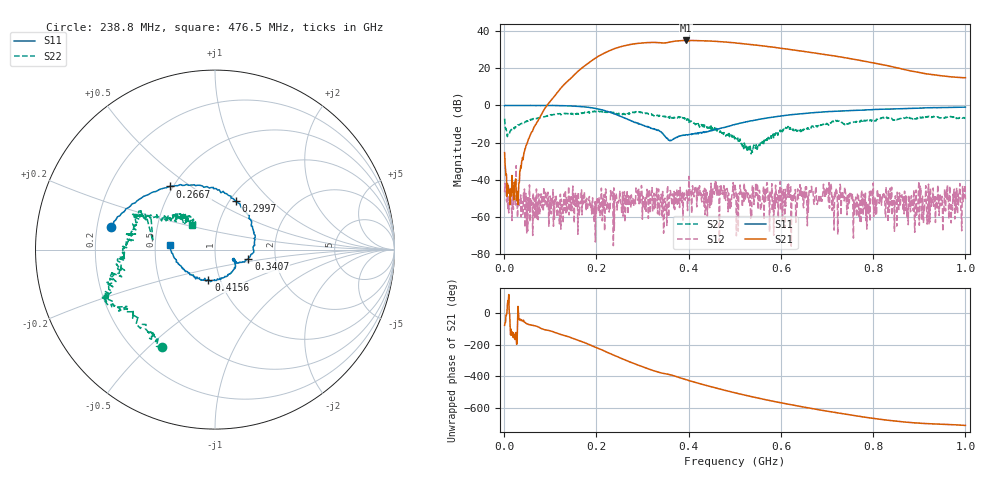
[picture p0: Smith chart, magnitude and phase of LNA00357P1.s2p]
! Created with skrf 1.9.0 (http://scikit-rf.org).
# Hz S RI R 50.0
!freq ReS11 ImS11 ReS21 ImS21 ReS12 ImS12 ReS22 ImS22
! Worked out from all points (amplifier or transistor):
!   1001 points, 1 MHz to 1 GHz, reference 50 ohm
!   highest |S21| = 35.0 dB at 394.6 MHz (marker M1)
!   |S21| within 3 dB of that: 258.3 MHz to 562.9 MHz (304.6 MHz wide, 74.2 % of centre)
!   unconditionally stable (mu >= 1): 3.628 MHz to 67.84 MHz; 238 MHz to 297.3 MHz; 298.4 MHz to end of sweep (the widest 3 of 31)
!   at 166.8 MHz: K = 1.13, MAG = 31.4 dB, |S12| = -47.3 dB
!   at 500.5 MHz: K = 1.39, MAG = 34.3 dB, |S12| = -42.2 dB
!   at 1 GHz: K = 4.86, MAG = 22.9 dB, |S12| = -50.6 dB
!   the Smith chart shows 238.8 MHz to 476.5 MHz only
!   S11 on the Smith chart (normalised r, x): 238.8 MHz: 0.26, +0.10; 266.7 MHz: 0.48, +0.42; 299.7 MHz: 1.07, +0.63; 340.7 MHz: 1.45, -0.15; 415.6 MHz: 0.88, -0.30; 476.5 MHz: 0.60, +0.03
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1000000  0.9781 0.00354  0.0136 -0.0516  0.00359 -0.00283  0.3548 0.2608
1.07893e8  0.5143 -0.8538  -0.7874 -1.509  0.00157 -0.00183  0.4261 -0.3845
1.67833e8  -0.268 -0.8879  -10.07 -0.3127  -0.00177 -0.00499  0.0274 -0.6275
2.07793e8  -0.6815 -0.3807  -15.44 16.16  3.47e-05 -0.00108  -0.2069 -0.6508
2.38762e8  -0.5808 0.1269  -1.914 33.78  2.1e-05 -0.000426  -0.2969 -0.5433
2.66734e8  -0.2492 0.3522  22.13 36.14  -0.00502 0.000827  -0.4538 -0.3459
2.99701e8  0.1157 0.2704  45.18 17.73  -0.000826 0.000225  -0.5735 -0.2331
3.18682e8  0.2085 0.1294  49.99 1.836  -0.00336 -0.000663  -0.5621 -0.1396
3.34666e8  0.2166 -0.0132  48.01 -11.49  -0.0034 0.00443  -0.5072 -0.0383
3.4066e8  0.1865 -0.0508  46.35 -15.09  -0.00302 0.00271  -0.5105 -0.0185
3.68632e8  0.113 -0.0625  43.23 -32.01  -0.000599 0.00479  -0.4587 0.1427
3.94606e8  0.0663 -0.1483  27.4 -49.34  0.00156 0.00305  -0.3971 0.1772
4.15585e8  -0.0367 -0.1669  10.92 -54.96  0.00605 0.00111  -0.2732 0.1686
4.45555e8  -0.1687 -0.1181  -12.48 -52.88  -0.00053 0.00168  -0.1608 0.1686
4.76524e8  -0.2534 0.023  -30.99 -41  0.00442 0.00527  -0.1263 0.1367
5.005e8  -0.2617 0.1577  -39.57 -28.51  0.00583 -0.00515  -0.105 0.0711
5.4046e8  -0.1764 0.3534  -42.48 -6.58  0.00587 -0.0013  -0.0788 0.00167
5.85415e8  0.0193 0.4913  -34.82 12.22  0.000768 -0.00294  -0.1428 -0.0812
6.67333e8  0.4118 0.4833  -11.3 23.83  -0.000687 -0.00488  -0.2707 -0.0678
7.53247e8  0.6778 0.2704  5.022 17.28  -0.00265 0.000734  -0.336 0.019
8.34166e8  0.7961 0.0129  8.795 7.503  0.0014 -0.00182  -0.4444 0.085
1e9  0.7269 -0.5321  5.543 0.793  -0.00262 -0.00136  -0.1963 0.4006
